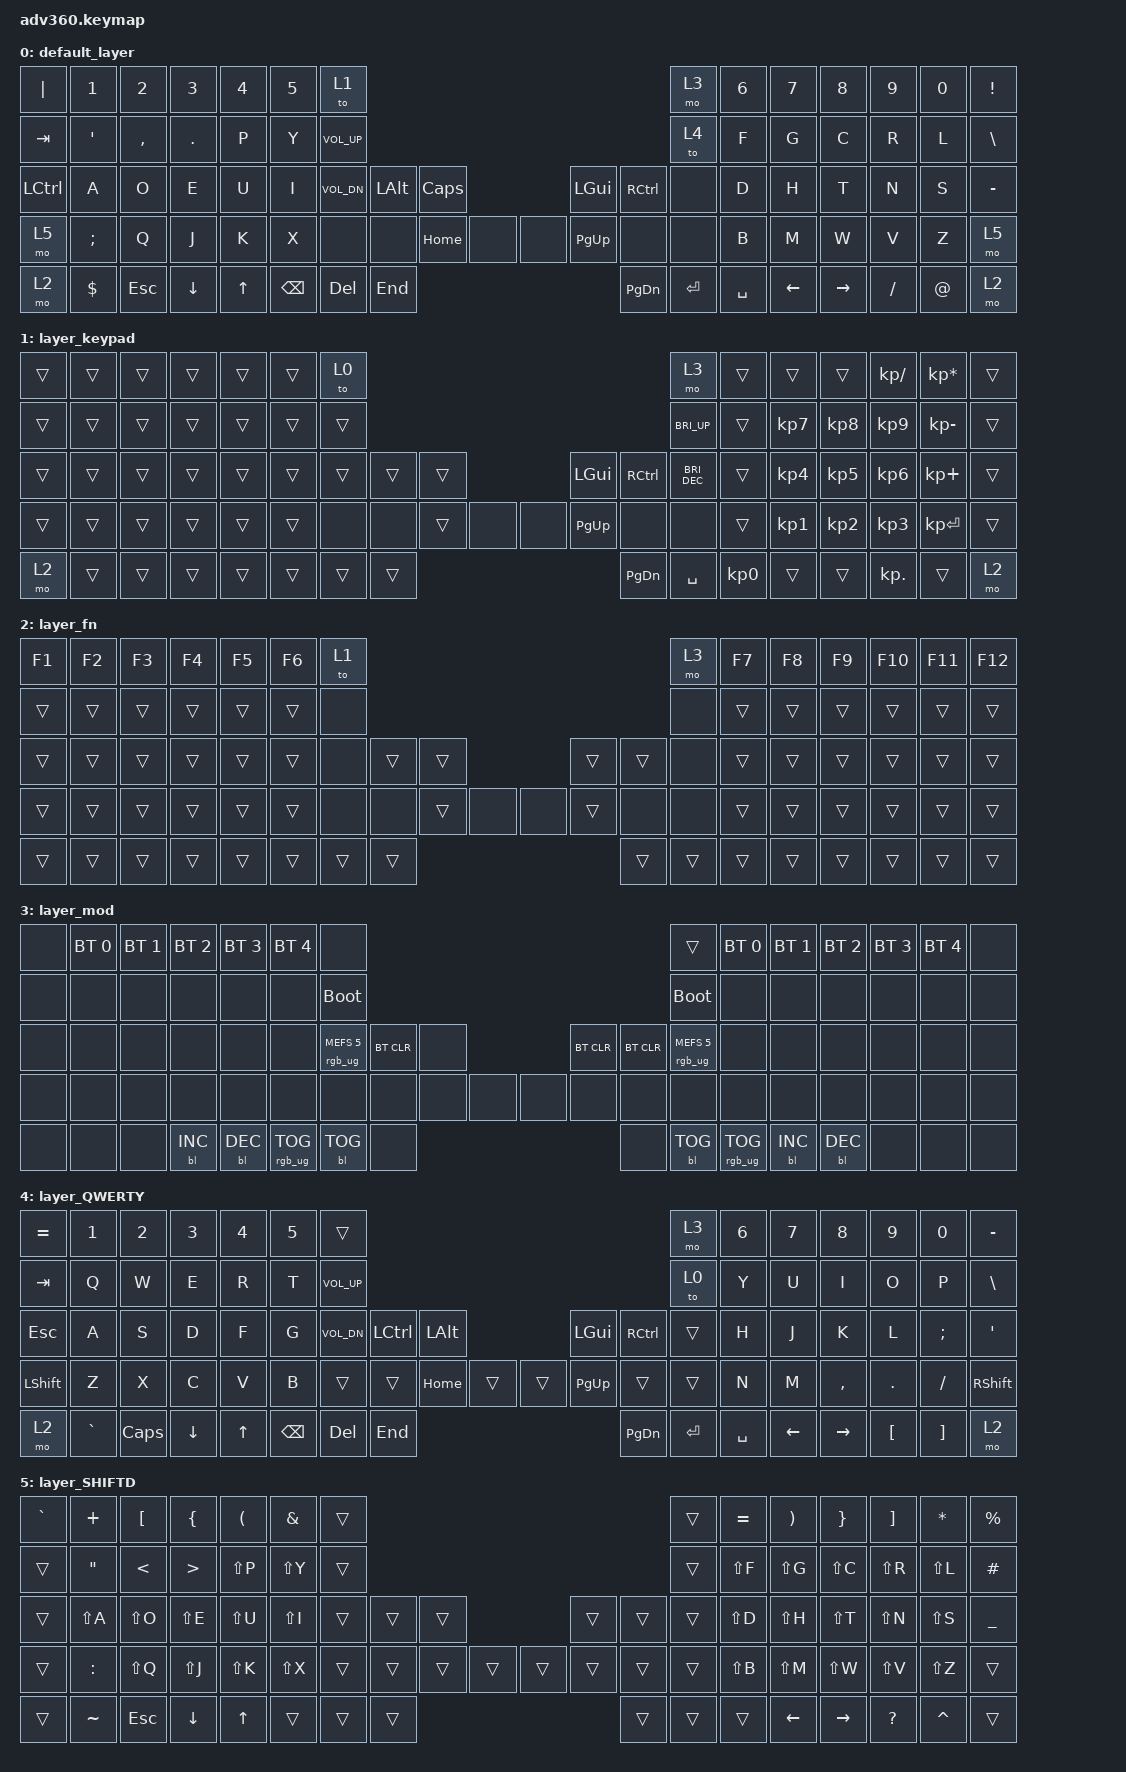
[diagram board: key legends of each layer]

/*
 * Copyright (c) 2020 The ZMK Contributors
 *
 * SPDX-License-Identifier: MIT
 */


/* THIS FILE WAS GENERATED!
 *
 * This file was generated automatically. You may or may not want to
 * edit it directly.
 */

#include <behaviors.dtsi>
#include <dt-bindings/zmk/keys.h>
#include <dt-bindings/zmk/bt.h>
#include <dt-bindings/zmk/rgb.h>
#include <dt-bindings/zmk/backlight.h>

/ {
  behaviors {
    #include "macros.dtsi"

    hm: homerow_mods {
        compatible = "zmk,behavior-hold-tap";
        label = "HOMEROW_MODS";
        #binding-cells = <2>;
        tapping-term-ms = <200>;
        quick_tap_ms = <175>;
        flavor = "tap-preferred";
        bindings = <&kp>, <&kp>;
    };
  };

    keymap {
        compatible = "zmk,keymap";


        default_layer {
            bindings = <
  &kp PIPE      &kp N1     &kp N2    &kp N3  &kp N4  &kp N5                   &to 1                                                                &mo 3  &kp N6    &kp N7     &kp N8    &kp N9  &kp N0   &kp EXCL
   &kp TAB     &kp SQT  &kp COMMA   &kp DOT   &kp P   &kp Y            &kp C_VOL_UP                                                                &to 4   &kp F     &kp G      &kp C     &kp R   &kp L   &kp BSLH
 &kp LCTRL       &kp A      &kp O     &kp E   &kp U   &kp I            &kp C_VOL_DN  &kp LALT  &kp CAPS                   &kp LGUI  &kp RCTRL      &none   &kp D     &kp H      &kp T     &kp N   &kp S  &kp MINUS
     &mo 5    &kp SEMI      &kp Q     &kp J   &kp K   &kp X                   &none     &none  &kp HOME   &none   &none  &kp PG_UP      &none      &none   &kp B     &kp M      &kp W     &kp V   &kp Z      &mo 5
     &mo 2  &kp DOLLAR    &kp ESC  &kp DOWN  &kp UP                        &kp BSPC   &kp DEL   &kp END                  &kp PG_DN  &kp ENTER  &kp SPACE          &kp LEFT  &kp RIGHT  &kp FSLH  &kp AT      &mo 2
            >;
        };

        layer_keypad {
            bindings = <
 &trans  &trans  &trans  &trans  &trans  &trans             &to 0                                                                &mo 3  &trans     &trans     &trans  &kp KP_DIVIDE  &kp KP_MULTIPLY  &trans
 &trans  &trans  &trans  &trans  &trans  &trans            &trans                                                         &kp C_BRI_UP  &trans  &kp KP_N7  &kp KP_N8      &kp KP_N9     &kp KP_MINUS  &trans
 &trans  &trans  &trans  &trans  &trans  &trans            &trans  &trans  &trans                   &kp LGUI  &kp RCTRL  &kp C_BRI_DEC  &trans  &kp KP_N4  &kp KP_N5      &kp KP_N6      &kp KP_PLUS  &trans
 &trans  &trans  &trans  &trans  &trans  &trans             &none   &none  &trans   &none   &none  &kp PG_UP      &none          &none  &trans  &kp KP_N1  &kp KP_N2      &kp KP_N3     &kp KP_ENTER  &trans
  &mo 2  &trans  &trans  &trans  &trans                    &trans  &trans  &trans                  &kp PG_DN  &kp SPACE      &kp KP_N0             &trans     &trans     &kp KP_DOT           &trans   &mo 2
            >;
        };

        layer_fn {
            bindings = <
 &kp F1  &kp F2  &kp F3  &kp F4  &kp F5  &kp F6             &to 1                                                   &mo 3  &kp F7  &kp F8  &kp F9  &kp F10  &kp F11  &kp F12
 &trans  &trans  &trans  &trans  &trans  &trans             &none                                                   &none  &trans  &trans  &trans   &trans   &trans   &trans
 &trans  &trans  &trans  &trans  &trans  &trans             &none  &trans  &trans                  &trans  &trans   &none  &trans  &trans  &trans   &trans   &trans   &trans
 &trans  &trans  &trans  &trans  &trans  &trans             &none   &none  &trans   &none   &none  &trans   &none   &none  &trans  &trans  &trans   &trans   &trans   &trans
 &trans  &trans  &trans  &trans  &trans                    &trans  &trans  &trans                  &trans  &trans  &trans          &trans  &trans   &trans   &trans   &trans
            >;
        };

        layer_mod {
            bindings = <
  &none  &bt BT_SEL 0  &bt BT_SEL 1  &bt BT_SEL 2  &bt BT_SEL 3  &bt BT_SEL 4                             &none                                                                              &trans  &bt BT_SEL 0  &bt BT_SEL 1  &bt BT_SEL 2  &bt BT_SEL 3  &bt BT_SEL 4   &none
  &none         &none         &none         &none         &none         &none                       &bootloader                                                                         &bootloader         &none         &none         &none         &none         &none   &none
  &none         &none         &none         &none         &none         &none            &rgb_ug RGB_MEFS_CMD 5  &bt BT_CLR   &none                  &bt BT_CLR  &bt BT_CLR  &rgb_ug RGB_MEFS_CMD 5         &none         &none         &none         &none         &none   &none
  &none         &none         &none         &none         &none         &none                             &none       &none   &none   &none   &none       &none       &none                   &none         &none         &none         &none         &none         &none   &none
  &none         &none         &none    &bl BL_INC    &bl BL_DEC                                 &rgb_ug RGB_TOG  &bl BL_TOG   &none                       &none  &bl BL_TOG         &rgb_ug RGB_TOG                  &bl BL_INC    &bl BL_DEC         &none         &none   &none
            >;
        };

        layer_QWERTY {
            bindings = <
  &kp EQUAL     &kp N1    &kp N2    &kp N3  &kp N4  &kp N5                  &trans                                                                 &mo 3  &kp N6    &kp N7     &kp N8    &kp N9    &kp N0  &kp MINUS
    &kp TAB      &kp Q     &kp W     &kp E   &kp R   &kp T            &kp C_VOL_UP                                                                 &to 0   &kp Y     &kp U      &kp I     &kp O     &kp P   &kp BSLH
 &kp ESCAPE      &kp A     &kp S     &kp D   &kp F   &kp G            &kp C_VOL_DN  &kp LCTRL  &kp LALT                   &kp LGUI  &kp RCTRL     &trans   &kp H     &kp J      &kp K     &kp L  &kp SEMI    &kp SQT
  &kp LSHFT      &kp Z     &kp X     &kp C   &kp V   &kp B                  &trans     &trans  &kp HOME  &trans  &trans  &kp PG_UP     &trans     &trans   &kp N     &kp M  &kp COMMA   &kp DOT  &kp FSLH  &kp RSHFT
      &mo 2  &kp GRAVE  &kp CAPS  &kp DOWN  &kp UP                        &kp BSPC    &kp DEL   &kp END                  &kp PG_DN  &kp ENTER  &kp SPACE          &kp LEFT  &kp RIGHT  &kp LBKT  &kp RBKT      &mo 2
            >;
        };

        layer_SHIFTD {
            bindings = <
 &kp GRAVE   &kp PLUS    &kp LBKT   &kp LBRC   &kp LPAR   &kp AMPS            &trans                                                  &trans  &kp EQUAL   &kp RPAR   &kp RBRC      &kp RBKT  &kp ASTRK  &kp PRCNT
    &trans    &kp DQT      &kp LT     &kp GT  &kp LS(P)  &kp LS(Y)            &trans                                                  &trans  &kp LS(F)  &kp LS(G)  &kp LS(C)     &kp LS(R)  &kp LS(L)   &kp HASH
    &trans  &kp LS(A)   &kp LS(O)  &kp LS(E)  &kp LS(U)  &kp LS(I)            &trans  &trans  &trans                  &trans  &trans  &trans  &kp LS(D)  &kp LS(H)  &kp LS(T)     &kp LS(N)  &kp LS(S)  &kp UNDER
    &trans  &kp COLON   &kp LS(Q)  &kp LS(J)  &kp LS(K)  &kp LS(X)            &trans  &trans  &trans  &trans  &trans  &trans  &trans  &trans  &kp LS(B)  &kp LS(M)  &kp LS(W)     &kp LS(V)  &kp LS(Z)     &trans
    &trans  &kp TILDE  &kp ESCAPE   &kp DOWN     &kp UP                       &trans  &trans  &trans                  &trans  &trans  &trans              &kp LEFT  &kp RIGHT  &kp QUESTION  &kp CARET     &trans
            >;
        };

    };
};
